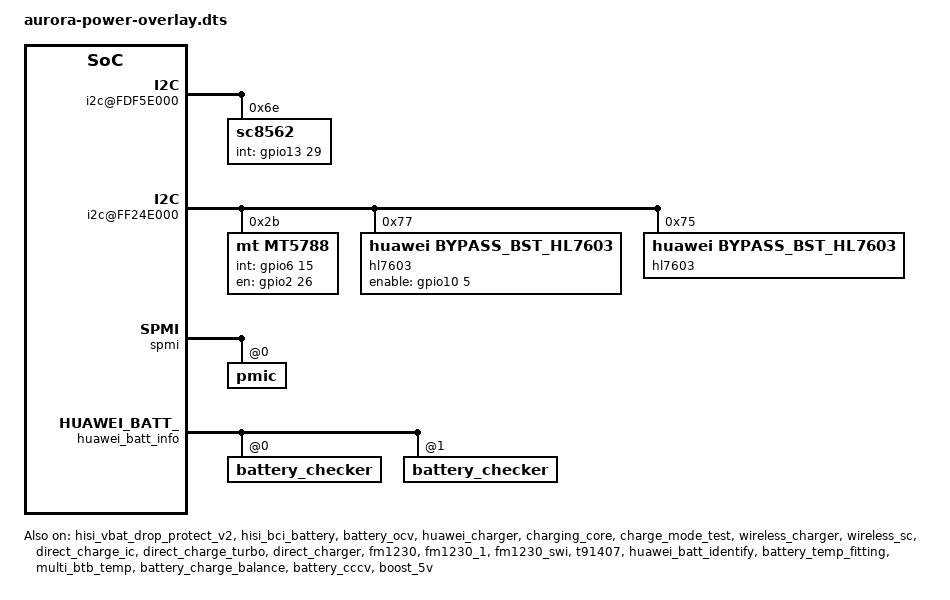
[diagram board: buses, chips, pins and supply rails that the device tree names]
/dts-v1/;
/plugin/;

/* Board-level configuration */
/ {
	board_id = <12345>;
};

&amba {
	i2c@FDF5E000 {
		status = "ok";
		hold-time = <0x220022>;
		sc8562@6E {
			compatible = "sc8562";
			slave_mode = <0>;
			ic_role = <1>;
			reg = <0x6e>;
			fcp_support = <0>;
			scp_support = <0>;
			gpio_int = <&gpio13 29 0>;
			sense_r_config = <10>;
			sense_r_actual = <10>;
			watchdog_time = <5000>;
			vout_ovp_mv = <5000>;
			status = "ok";
		};
	};
};

&spmi1 {
	scharger_v800 {
		gpios = <&gpio5 31 0>;
		status = "ok";
		scharger_v800_buck {
			r_charger_uohm = <1000>;
			usbovp_sw_flag = "buck", "0", "1", "1";
			pswovp_sw_flag = "rxsw", "1", "0", "1";
			cur_balance_mos = <2>;
		};

		scharger_v800_coul {
			status = "ok";
			batt_l_v800 {
				batt_index = <0>;
				batt_name = "battery_gauge";
				r_pcb = <23330>;
				batt_indentify_fcc = <1805>;
				soe_dynamic_enable = <1>;
			};
		};

		scharger_v800_flash {
			vendor,led-type = <0>;
			status = "ok";
		};
	};
};

&spmi {
	pmic@0 {
		hi6xxx_coul {
			status = "ok";
			batt:batt{
				batt_index = <1>;
				batt_name = "battery_gauge_aux";
				r_pcb = <11920>;
				batt_indentify_fcc = <3590>;
				soe_dynamic_enable = <1>;
			};
		};
	};
};

&hisi_vbat_drop_protect {
	vbat_drop_vol_mv = <2500>;
	status = "disabled";
};

&hisi_vbat_drop_protect_v2 {
	vbat_drop_vol_mv = <2500>;
	status = "ok";

	middle_cpu {
		active_perf_limit  = <
			16 100 100
			6 15 100
			0 5 100>;
		passive_perf_limit = <
			0 5 10 40 10 0
			6 15 10 70 10 0
			16 100 0 100 10 0>;
	};
};

&hisi_bci_battery {
	battery_design_fcc = <5525>;
	battery_board_type = <2>;
	vth_correct_para = <1 2800>;
	vth_correct_para_low_temp = <1 2600>,<2 2800>;
	status = "ok";
};

&battery_ocv {
	ocv_table =
		"-1", "3100",
		"0", "3200",
		"1", "3250";
	status = "ok";
};

&soh_core {
	status = "disabled";
};

&huawei_charger {
	/* Boolean properties — presence means enabled */
	weak_source_sleep_enabled;
	charge_done_sleep_enabled;
	support_new_pd_process = <1>;
	recharge_para = <96 60 3 5 1 0 1 100>;
	status = "ok";
};

&charging_core {
	iin_max = <2300>;
	ichg_max = <2500>;
	iterm_table =
		"-32767", "10", "200",
		"10", "20", "400",
		"45", "32767", "200";
	jeita_table =
		"-32767", "1", "2300", "0", "4200", "0",
		"10", "35", "2300", "3000", "4530", "3",
		"55", "32767", "2300", "0", "4195", "0";
	status = "ok";
};

&charge_mode_test {
	test_para =
		"scp", "lvc", "2000", "105", "0", "2",
		"scp", "sc4", "3000", "105", "0", "0";
	status = "ok";
};

&wireless_charger {
	pmax = <25>;
	trx_plim =
		"5000",  "5500",  "1200", "-1", "2", "-1", "-1", "-1",
		"12000", "12000", "2300", "-1", "6|9|10", "-1", "3", "-1",
		"12000", "12000", "2300", "-1", "255", "-1", "3|4", "-1";
	sc_err_tx = /bits/ 8 <2>;
	rx_mode_type_para = /bits/ 8 <0 1 1 5 6>;
	rx_mode_para =
		"5W",   "5000",  "475",  "5000",  "5500",  "825", "4650", "-1", "-1", "-1", "0", "-1", "4",
		"SC_4", "15000", "1800", "15000", "15000", "-1", "-1",   "46", "-1", "1",  "2", "-1", "-1";
	status = "ok";
};

&wireless_sc {
	init_para_col = <14>;
	init_para =
		"0x2", "SC_2", "0", "1", "3300", "4500", "9000",  "450", "300", "100", "300", "10000", "9000",  "2",
		"0x4", "SC_4", "2", "1", "3200", "4500", "15000", "500", "300", "100", "300", "20000", "15000", "4";
	volt_para00 =
		"4555", "1802", "386";
	volt_para01 =
		"4050", "4046", "3237",
		"4555", "809", "600";
	bat_para =
		"default", "10", "45", "0x01", "volt_para00",
		"default", "10", "15", "0x02", "volt_para01";
	status = "ok";
};

&direct_charge_ic {
	ic_para1 =
		"0", "0", "5000", "0", "0",
		"1", "1", "5000", "1", "1";
	mode_para =
		"lvc_mode", "ic_para1",
		"sc_mode", "ic_para2",
		"sc4_mode", "ic_para3";
	status = "ok";
};

&direct_charge_comp {
	/* Direct-charge compensation table — float values as strings */
	vbat_comp_ic_para =
		"schargerV800", "13", "7", "3",
		"sc8565", "2", "0.5", "3";
	status = "disabled";
};

&direct_charge_turbo {
	status = "ok";
	time_para01 =
		"640", "7200",
		"0", "12500";
	time_para_group =
		"2", "0", "time_para01", "0X1",
		"4", "0", "time_para02", "0X0";
};

&direct_charger {
	use_5A = <1>;
	volt_para =
		"4080", "5000", "3777",
		"4555", "1618", "1200";
	volt_para1 =
		"4500", "5000", "3776",
		"4555", "2697", "1200";
	bat_para =
		"default", "10", "15", "volt_para",
		"CAE", "15", "20", "volt_para1";
	stage_need_to_jump = "1";
	temp_para =
		"-32767", "10", "0",
		"45", "32767", "0";
	resist_para =
		"0", "260", "3300",
		"260", "32767", "2000";
	status = "ok";
};

&huawei_batt_info {
	status = "ok";
	sn-check-type = <2>;
	battery_checker@0 {
		matchable = <&fm1230 &t91407>;
		spare-cycles = <150>;
		status = "ok";
	};
	battery_checker@1 {
		matchable = <&fm1230_1 &t91407_1>;
		spare-cycles = <150>;
		status = "ok";
	};
};

&fm1230 {
	onewire-gpio = <&gpio2 14 0>;
	battct_id_gpio-supply = <&huawei_batt_identify>;
	ow_reset_start_delay = <300>;
	ow_read_end_delay = <100>;
	status = "ok";
};

&fm1230_1 {
	onewire-gpio = <&gpio2 15 0>;
	battct_id_gpio-supply = <&huawei_batt_identify>;
	ic_index = <1>;
	status = "ok";
};

&fm1230_swi {
	status = "ok";
};

&t91407 {
	onewire-gpio = <&gpio2 14 0>;
	battct_id_gpio-supply = <&huawei_batt_identify>;
	status = "ok";
};

&huawei_batt_identify {
	gpios = <&gpio10 16 0>;
	id_voltage_gpiov = <0 1>;
	status = "ok";
};

&battery_temp_fitting {
	status = "ok";
	btf_temp_lth = "-50";
	fitting_mode = <2>;
	replace_sensor = "bat0_raw_temp";
	temp_para =
		"-32767", "1", "2300", "0", "4200", "0",
		"55", "32767", "2300", "0", "4195", "0";
};

&multi_btb_temp {
	status = "ok";
	sensor-names =
		"bat0_raw_temp", "comp_para", "0",
		"bat1_raw_temp", "comp_para1", "0";
};

&battery_charge_balance {
	status = "ok";
	unbalance_th = <100 10000>;

	battery0 {
		weight = <1805>;
		cccv_0 = <4500 0>;
		cccv_10_20 = <4200 3610
			4250 2707
			4555 1260>;
		temp_tab = "0", "cccv_0",
			"20", "cccv_10_20";
	};

	battery1 {
		weight = <3590>;
		cccv_10_20 = <4200 7180
			4500 3590
			4555 2513>;
		temp_tab = "0", "cccv_0",
			"20", "cccv_10_20";
	};
};

&battery_cccv {
	status = "ok";
	battery_tbl =
		"default", "cccv_para0";
	cccv_para0 {
		buck_cccv_0_5 = <4540 1078 0>;
		buck_temp_tab =
			"5", "buck_cccv_0_5";
		cccv_10_20 = <4200 10790 0
			4250 8092 0
			4565 2697 0>;
		temp_tab = "20", "cccv_10_20";
	};
};

&btb_check {
	vol_check_para = "1", "1", "2500", "4700", "120", "3", "0";
	status = "disabled";
};

&boost_5v {
	status = "ok";
	gpio_5v_boost = <&gpio7 27 0>;
};

&amba {
	#address-cells = <2>;
	#size-cells = <2>;
	compatible = "arm,amba-bus";
	interrupt-parent = <&gic>;
	ranges;

	i2c@FF24E000 {
		status = "ok";
		hold-time = <0x190019>;
		mt5788@2B {
			compatible = "mt,mt5788";
			reg = <0x2B>;
			gpio_int = <&gpio6 15 0>;
			gpio_en = <&gpio2 26 0>;
			rx_mod_cm_cfg = /bits/ 8 <0x5 0x5 0x5>;
			rx_ploss_th0 = /bits/ 8 <0x19 0x32 0x4B 0x64 0x7D 0x96 0xAF 0xE1 0xEB 0x46 0x46 0x46 0x46 0x46 0x46 0x46 0x46 0x46 0x46 0xFF>;
			rx_fod_cond =
				"0", "-1", "2", "5000",
				"31", "-1", "-1", "15000";
			time_para = <
				1800 1250
				0 2500
			>;
			time_para_group =
				"SC_2", "1", "time_para01",
				"SC_4", "0", "time_para";
			tx_current_fod_para =
				"3", "550", "9900", "300", "9900", "250",
				"12", "195", "9900", "200", "9900", "1";
			prevfod1_product_list = /bits/ 8 <17>;
			status = "ok";
		};

		hl7603@77 {
			compatible = "huawei,bypass_bst_hl7603";
			ic_role = "0";
			reg = <0x77>;
			const_vout = <3600>;
			gpio_enable = <&gpio10 5 0>;
			status = "ok";
		};

		hl7603@75 {
			compatible = "huawei,bypass_bst_hl7603";
			ic_role = "1";
			reg = <0x75>;
			const_vout = <3300>;
			shutdown_cfg =
				"0xb", "2", "2850",
				"0xc", "2", "2850";
			status = "ok";
		};
	};
};
